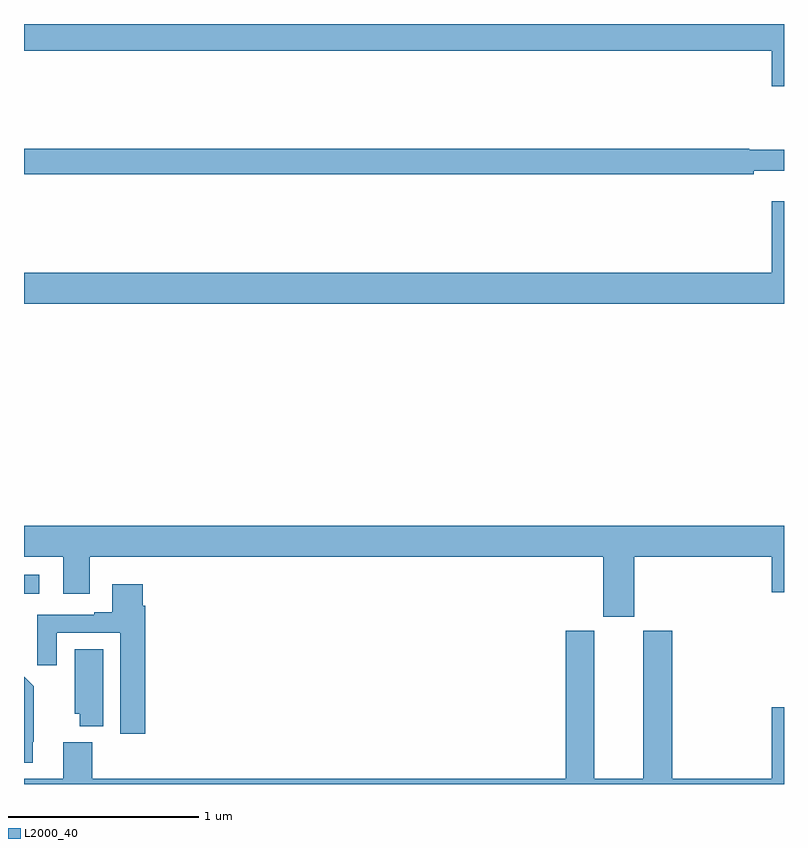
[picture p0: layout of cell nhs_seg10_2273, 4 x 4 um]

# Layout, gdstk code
import gdstk
lib = gdstk.Library(unit=1e-6, precision=1e-09)
def R(c, l, rs):  # rectangles x0, y0, x1, y1
    for r in rs: c.add(gdstk.rectangle(r[:2], r[2:], *l))
def P(c, l, *ps):  # polygons
    for p in ps: c.add(gdstk.Polygon(p, *l))
L2000_40 = (2000, 40)

nhs_seg10_2273 = lib.new_cell('nhs_seg10_2273')
R(nhs_seg10_2273, L2000_40, [(233,1253.501,233.08,1253.602)])
P(nhs_seg10_2273, L2000_40, [(233,1256.36),(236.936,1256.36),(236.936,1256.172),(237,1256.172),(237,1256.5),(233,1256.5)],
  [(236.84,1255.727),(237,1255.727),(237,1255.837),(236.818,1255.837),(236.818,1255.844),(233,1255.844),(233,1255.708),(236.84,1255.708)],
  [(237,1255.567),(236.936,1255.567),(236.936,1255.192),(233,1255.192),(233,1255.028),(237,1255.028)],
  [(236.212,1253.696),(236.936,1253.696),(236.936,1253.508),(237,1253.508),(237,1253.86),(233,1253.86),(233,1253.696),(233.207,1253.696),(233.207,1253.502),(233.347,1253.502),(233.347,1253.696),(236.048,1253.696),(236.048,1253.379),(236.212,1253.379)],
  [(233.639,1253.438),(233.626,1253.438),(233.626,1253.551),(233.465,1253.551),(233.465,1253.404),(233.369,1253.404),(233.369,1253.391),(233.069,1253.391),(233.069,1253.124),(233.173,1253.124),(233.173,1253.295),(233.507,1253.295),(233.507,1252.764),(233.639,1252.764)],
  [(237,1252.903),(236.936,1252.903),(236.936,1252.528),(236.411,1252.528),(236.411,1253.307),(236.258,1253.307),(236.258,1252.528),(236.002,1252.528),(236.002,1253.307),(235.85,1253.307),(235.85,1252.528),(233.36,1252.528),(233.36,1252.72),(233.207,1252.72),(233.207,1252.528),(233,1252.528),(233,1252.5),(237,1252.5)],
  [(233.416,1253.21),(233.267,1253.21),(233.267,1252.869),(233.294,1252.869),(233.294,1252.805),(233.416,1252.805)],
  [(233.047,1252.723),(233.051,1252.723),(233.051,1253.014),(233,1253.065),(233,1252.613),(233.047,1252.613)])

lib.write_gds('nhs_seg10_2273.gds')
